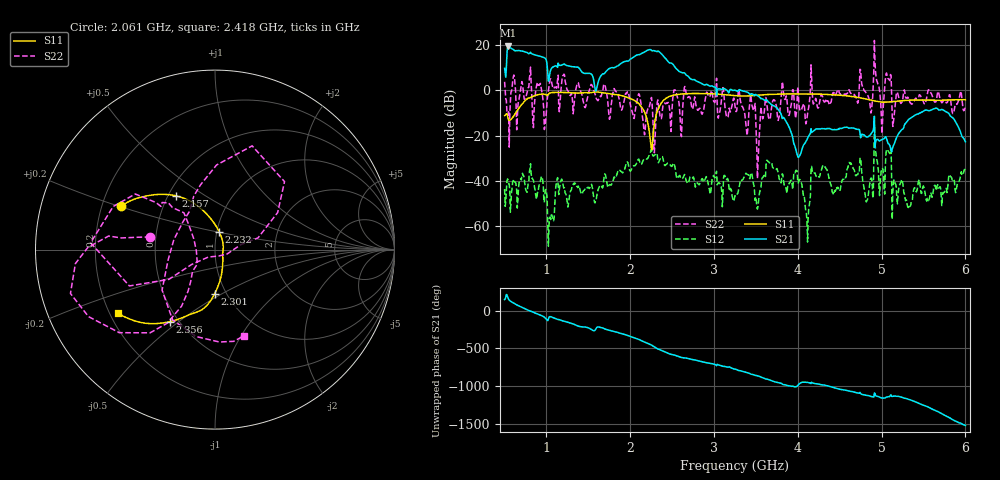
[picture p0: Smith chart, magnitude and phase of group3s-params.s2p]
#  HZ  S  DB  R  50.00
! Rohde & Schwarz Vector Network Analyzer
! Rohde-Schwarz,ZNB8-2Port,1311601042102944,2.30
! Created: UTC 11/6/2020, 12:57:25 PM
!The following Port Impedance Renormalization has been used when saving the data.
!PortZ  Port1:50+j0  Port2:50+j0
! freq[Hz]  db:S11  ang:S11  db:S21  ang:S21  db:S12  ang:S12  db:S22  ang:S22
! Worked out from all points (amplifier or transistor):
!   801 points, 500 MHz to 6 GHz, reference 50 ohm
!   highest |S21| = 19.7 dB at 541.2 MHz (marker M1)
!   |S21| within 3 dB of that: 529.7 MHz to 766.5 MHz (236.8 MHz wide, 36.5 % of centre)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
!   unconditionally stable (mu >= 1): 3.3 GHz to 3.806 GHz; 4.171 GHz to 4.483 GHz; 5.567 GHz to end of sweep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
!   at 1.414 GHz: K = 0.92, MSG = 27.1 dB, |S12| = -45.7 dB
!   at 3.25 GHz: K = 35.24, MAG = 4.8 dB, |S12| = -46.6 dB
!   at 6 GHz: K = 202.34, MAG = -19.6 dB, |S12| = -35.6 dB
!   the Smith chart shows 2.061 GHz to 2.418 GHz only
!   S11 on the Smith chart (normalised r, x): 2.061 GHz: 0.28, +0.20; 2.157 GHz: 0.55, +0.38; 2.232 GHz: 1.03, +0.21; 2.301 GHz: 0.88, -0.46; 2.356 GHz: 0.45, -0.46; 2.418 GHz: 0.23, -0.28
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5e8  -11.19 109.4  9.73 146.3  -43.70 -61.3  3.76 -136.4
5.4125e8  -12.40 87.5  19.72 165.5  -39.69 29.4  -10.03 112.5
5.75625e8  -12.93 100.7  18.58 120.8  -49.65 -14.8  -0.68 -14.9
6.1e8  -11.30 103.6  17.89 99.5  -39.41 8.2  6.76 41.7
7.6125e8  -4.05 65.0  16.81 13.1  -44.70 -50.1  -1.95 -0.9
9.60625e8  -1.69 2.8  14.60 -77.0  -41.60 -71.7  -5.22 64.4
1.22875e9  -0.98 -52.5  11.21 -145.7  -45.65 -169.0  2.91 -28.5
1.42125e9  -1.13 -84.2  8.18 144.6  -46.03 92.0  -1.86 -38.6
1.895625e9  -2.33 -169.1  12.05 54.7  -36.08 15.4  -8.80 -144.0
2.060625e9  -4.75 155.4  15.22 -5.3  -33.09 -45.9  -8.70 169.0
2.156875e9  -8.64 125.9  16.71 -49.9  -30.82 -84.2  -15.18 -135.9
2.2325e9  -19.82 76.6  18.00 -86.3  -28.16 -128.8  -6.31 143.5
2.30125e9  -12.12 -90.6  17.35 -128.0  -28.22 -152.5  -16.61 11.0
2.335625e9  -8.18 -111.6  17.30 -150.3  -32.06 -173.4  -6.53 89.0
2.35625e9  -6.48 -122.1  16.70 -158.8  -30.29 165.0  -11.80 123.3
2.418125e9  -3.76 -146.8  14.21 171.2  -33.24 139.1  -5.89 -71.7
2.734375e9  -1.42 143.7  4.82 73.6  -38.84 42.8  -7.82 -134.0
3.25e9  -2.35 77.8  0.02 -54.6  -46.60 -98.9  -6.94 117.0
4.17125e9  -1.63 -20.1  -18.46 125.3  -35.40 152.8  -0.26 -101.0
5.085625e9  -5.15 93.3  -23.69 -60.9  -27.37 -107.6  4.88 -16.8
5.278125e9  -4.50 24.1  -14.89 -80.2  -47.36 -134.2  -1.15 -125.7
6e9  -4.17 -92.8  -22.71 -80.2  -35.60 -159.9  -6.90 18.7
